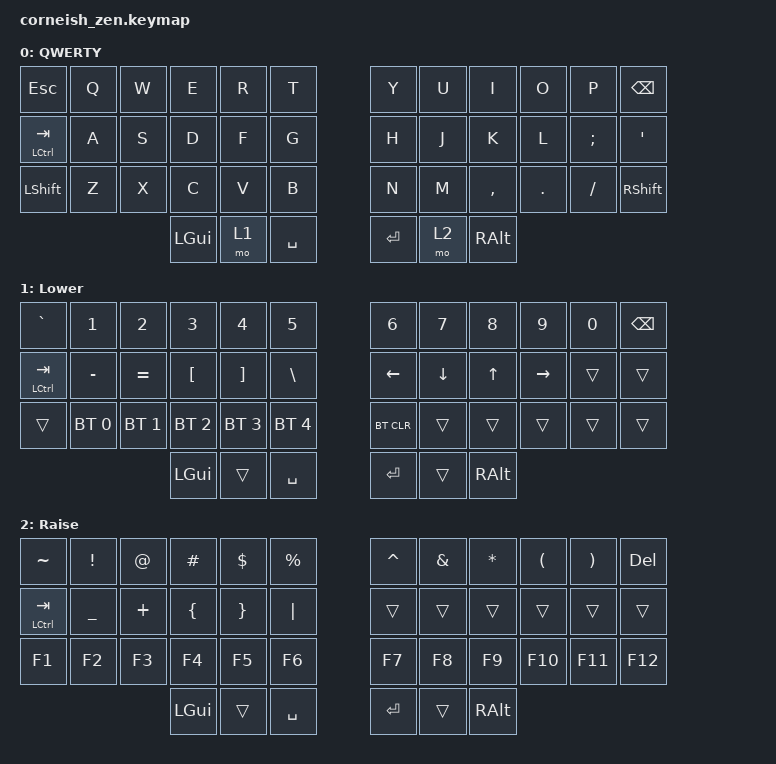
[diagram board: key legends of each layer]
#include <behaviors.dtsi>
#include <dt-bindings/zmk/keys.h>
#include <dt-bindings/zmk/bt.h>

/ {
  chosen {
    zmk,matrix_transform = &default_transform;
    //zmk,matrix_transform = &five_column_transform;
  };
};

/ {
        keymap {
                compatible = "zmk,keymap";

                default_layer {
                        label = "QWERTY";
// -----------------------------------------------------------------------------------------
// |  ESC |  Q  |  W  |  E  |  R  |  T  |   |  Y  |  U   |  I  |  O  |  P  | BKSP |
// |T/CTRL|  A  |  S  |  D  |  F  |  G  |   |  H  |  J   |  K  |  L  |  ;  |  '   |
// | SHFT |  Z  |  X  |  C  |  V  |  B  |   |  N  |  M   |  ,  |  .  |  /  | SHFT |
//                    | GUI | LWR | SPC |   | ENT | RSE  | ALT |
                        bindings = <
   &kp ESC       &kp Q &kp W &kp E &kp R &kp T   &kp Y &kp U  &kp I     &kp O   &kp P    &kp BSPC
   &mt LCTRL TAB &kp A &kp S &kp D &kp F &kp G   &kp H &kp J  &kp K     &kp L   &kp SEMI &kp SQT
   &kp LSHFT     &kp Z &kp X &kp C &kp V &kp B   &kp N &kp M  &kp COMMA &kp DOT &kp FSLH &kp RSHIFT
                  &kp LGUI &mo 1 &kp SPACE   &kp RET &mo 2 &kp RALT
                        >;
                };
                lower_layer {
                        label = "Lower";
// -----------------------------------------------------------------------------------------
// |   `  |  1  |  2  |  3  |  4  |  5  |   |  6  |  7  |  8  |  9  |  0  | BKSP |
// |T/CTRL|  -  |  =  |  [  |  ]  |  \  |   | LFT | DWN |  UP | RGT |     |      |
// |SHIFT | bt0 | bt1 | bt2 | bt3 | bt4 |   |BTCLR|     |     |     |     |      |
//                    | GUI |     | SPC |   | ENT |     | ALT |
                        bindings = <
   &kp GRAVE     &kp N1       &kp N2       &kp N3       &kp N4       &kp N5                      &kp N6       &kp N7   &kp N8 &kp N9    &kp N0 &kp BSPC
   &mt LCTRL TAB &kp MINUS    &kp EQUAL    &kp LBKT     &kp RBKT     &kp BSLH                    &kp LEFT     &kp DOWN &kp UP &kp RIGHT &trans &trans
   &trans        &bt BT_SEL 0 &bt BT_SEL 1 &bt BT_SEL 2 &bt BT_SEL 3 &bt BT_SEL 4                &bt BT_CLR   &trans   &trans &trans    &trans &trans
                          	               &kp LGUI     &trans       &kp SPACE                   &kp RET      &trans   &kp RALT
                        >;
                };

                raise_layer {
                        label = "Raise";
// -----------------------------------------------------------------------------------------
// |   ~  |  !  |  @  |  #  |  $  |  %  |   |  ^  |  &  |  *  |  (  |  )  | Del  |
// |T/CTRL|  _  |  +  |  {  |  }  |  |  |   |     |     |     |     |     |      |
// |  F1  | F2  | F3  | F4  | F5  | F6  |   | F7  | F8  | F9  | F10 | F11 | F12  |
//                    | GUI |     | SPC |   | ENT |     | ALT |
                        bindings = <
   &kp TILDE      &kp EXCL  &kp AT    &kp HASH &kp DLLR &kp PRCNT              &kp CARET &kp AMPS  &kp ASTRK &kp LPAR &kp RPAR &kp DEL
   &mt LCTRL TAB  &kp UNDER &kp PLUS  &kp LBRC &kp RBRC &kp PIPE               &trans    &trans    &trans          &trans   &trans   &trans 
   &kp F1         &kp F2    &kp F3    &kp F4   &kp F5   &kp F6                 &kp F7    &kp F8    &kp F9          &kp F10  &kp F11  &kp F12
                    	      &kp LGUI  &trans   &kp SPACE                       &kp RET   &trans    &kp RALT
                        >;
                };
        };
};
